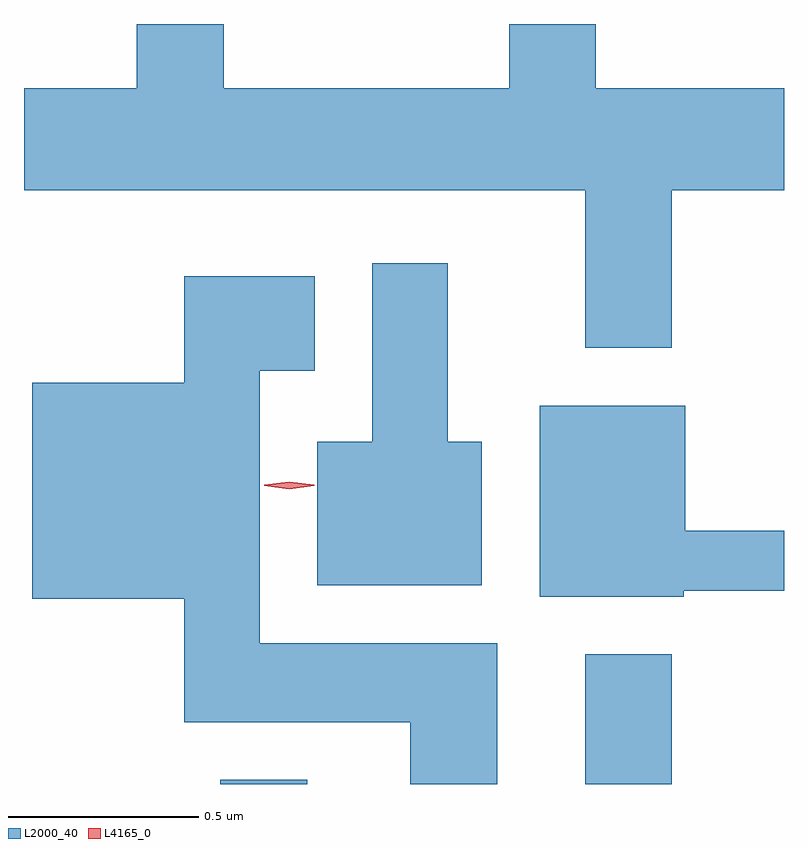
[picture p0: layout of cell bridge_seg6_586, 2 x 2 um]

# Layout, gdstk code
import gdstk
lib = gdstk.Library(unit=1e-6, precision=1e-09)
def R(c, l, rs):  # rectangles x0, y0, x1, y1
    for r in rs: c.add(gdstk.rectangle(r[:2], r[2:], *l))
def P(c, l, *ps):  # polygons
    for p in ps: c.add(gdstk.Polygon(p, *l))
L2000_40 = (2000, 40)
L4165_0 = (4165, 0)

bridge_seg6_586 = lib.new_cell('bridge_seg6_586')
R(bridge_seg6_586, L2000_40, [(428.511,1657.253,428.739,1657.264), (429.471,1657.253,429.699,1657.594)])
P(bridge_seg6_586, L2000_40, [(429.699,1658.816),(429.994,1658.816),(429.994,1659.084),(429.499,1659.084),(429.499,1659.253),(429.271,1659.253),(429.271,1659.084),(428.519,1659.084),(428.519,1659.253),(428.291,1659.253),(428.291,1659.084),(427.994,1659.084),(427.994,1658.816),(429.471,1658.816),(429.471,1658.401),(429.699,1658.401)],
  [(429.199,1658.154),(429.109,1658.154),(429.109,1658.624),(428.911,1658.624),(428.911,1658.154),(428.766,1658.154),(428.766,1657.776),(429.199,1657.776)],
  [(429.239,1657.624),(428.614,1657.624),(428.614,1658.341),(428.759,1658.341),(428.759,1658.589),(428.416,1658.589),(428.416,1658.309),(428.016,1658.309),(428.016,1657.741),(428.416,1657.741),(428.416,1657.416),(429.011,1657.416),(429.011,1657.253),(429.239,1657.253)],
  [(429.73,1657.761),(429.994,1657.761),(429.994,1657.919),(429.734,1657.919),(429.734,1658.249),(429.351,1658.249),(429.351,1657.746),(429.73,1657.746)])
P(bridge_seg6_586, L4165_0, [(428.692,1658.029),(428.626,1658.038),(428.626,1658.039),(428.626,1658.04),(428.692,1658.049),(428.758,1658.04),(428.758,1658.039),(428.758,1658.038)])

lib.write_gds('bridge_seg6_586.gds')
